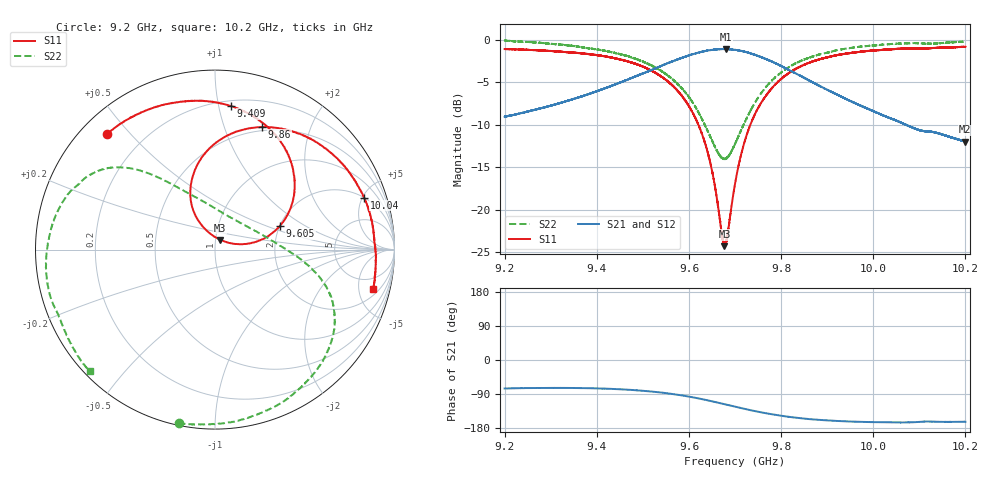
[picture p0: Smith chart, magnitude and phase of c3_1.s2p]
!Agilent Technologies,N5242A,MY51221714,A.09.90.19
!Agilent N5242A: A.09.90.19
!Date: Tuesday, March 26, 2024 15:50:10
!Correction: S11(Full 2 Port(1,2))
!S21(Full 2 Port(1,2))
!S12(Full 2 Port(1,2))
!S22(Full 2 Port(1,2))
!S2P File: Measurements: S11, S21, S12, S22:
# Hz S  dB  R 50
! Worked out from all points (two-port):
!   16001 points, 9.2 GHz to 10.2 GHz, reference 50 ohm
!   highest |S21| = -1.09 dB at 9.68 GHz (marker M1); lowest = -12.0 dB at 10.2 GHz (marker M2)
!   |S21| within 3 dB of the highest: 9.494309 GHz to 9.494445 GHz (136 kHz wide, 0.00143 % of centre); 9.495 GHz to 9.836 GHz (341.2 MHz wide, 3.53 % of centre)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
!   lowest |S11| = -24.3 dB at 9.677 GHz (marker M3), VSWR 1.13, Z = 52.6 + j5.69 ohm
!   |S11| at or under -10 dB: 9.620495 GHz to 9.620522 GHz (26.8 kHz wide, 0.000279 % of centre); 9.621 GHz to 9.734 GHz (112.9 MHz wide, 1.17 % of centre)
!   |S22| runs from -14.1 to -0.1 dB; largest |S21 - S12| = 0.011
!   S11 on the Smith chart (normalised r, x): 9.2 GHz: 0.08, +0.43; 9.409 GHz: 0.24, +1.09; 9.605 GHz: 2.01, +0.63; 9.86 GHz: 0.46, +1.35; 10.04 GHz: 2.01, +5.16; 10.2 GHz: 2.77, -7.07
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9.2e9  -1.10 133.0  -9.08 -75.2  -9.05 -75.8  -0.10 -101.8
9.278812e9  -1.26 115.6  -8.07 -73.8  -8.06 -74.4  -0.38 -80.4
9.366688e9  -1.59 94.7  -6.69 -74.2  -6.68 -74.7  -0.90 -57.7
9.409062e9  -1.88 83.7  -5.88 -75.2  -5.88 -75.9  -1.22 -47.2
9.4715e9  -2.62 65.9  -4.60 -78.7  -4.60 -79.2  -2.03 -33.0
9.533375e9  -4.12 45.9  -3.24 -85.0  -3.23 -85.5  -3.45 -19.9
9.604938e9  -8.27 20.2  -1.77 -97.7  -1.76 -98.3  -7.12 -3.4
9.642938e9  -13.70 10.2  -1.25 -107.1  -1.25 -107.6  -11.02 16.1
9.677188e9  -24.31 62.2  -1.10 -116.6  -1.10 -117.1  -14.02 61.0
9.679938e9  -24.00 74.9  -1.09 -117.4  -1.10 -117.9  -14.03 65.9
9.7e9  -17.00 117.6  -1.20 -123.2  -1.18 -123.7  -12.27 94.8
9.724062e9  -11.43 118.2  -1.45 -129.8  -1.45 -130.4  -9.37 114.3
9.755812e9  -7.51 107.4  -2.03 -137.9  -2.02 -138.5  -6.38 126.3
9.80925e9  -4.22 87.0  -3.35 -148.7  -3.35 -149.2  -3.50 137.0
9.860375e9  -2.72 69.1  -4.77 -155.9  -4.77 -156.3  -2.13 145.8
9.866688e9  -2.60 67.1  -4.96 -156.5  -4.96 -156.9  -2.01 146.9
9.94875e9  -1.60 42.7  -7.19 -162.3  -7.19 -162.8  -0.99 163.4
1.003338e10  -1.16 21.5  -9.18 -164.5  -9.17 -165.0  -0.54 -177.7
1.004275e10  -1.11 19.2  -9.37 -164.6  -9.37 -165.0  -0.49 -175.5
1.010088e10  -1.02 6.2  -10.65 -163.3  -10.66 -163.8  -0.42 -162.0
1.019975e10  -0.84 -13.9  -12.01 -163.0  -11.99 -163.6  -0.24 -136.0
1.02e10  -0.82 -14.0  -11.98 -163.0  -11.99 -163.5  -0.24 -135.9
